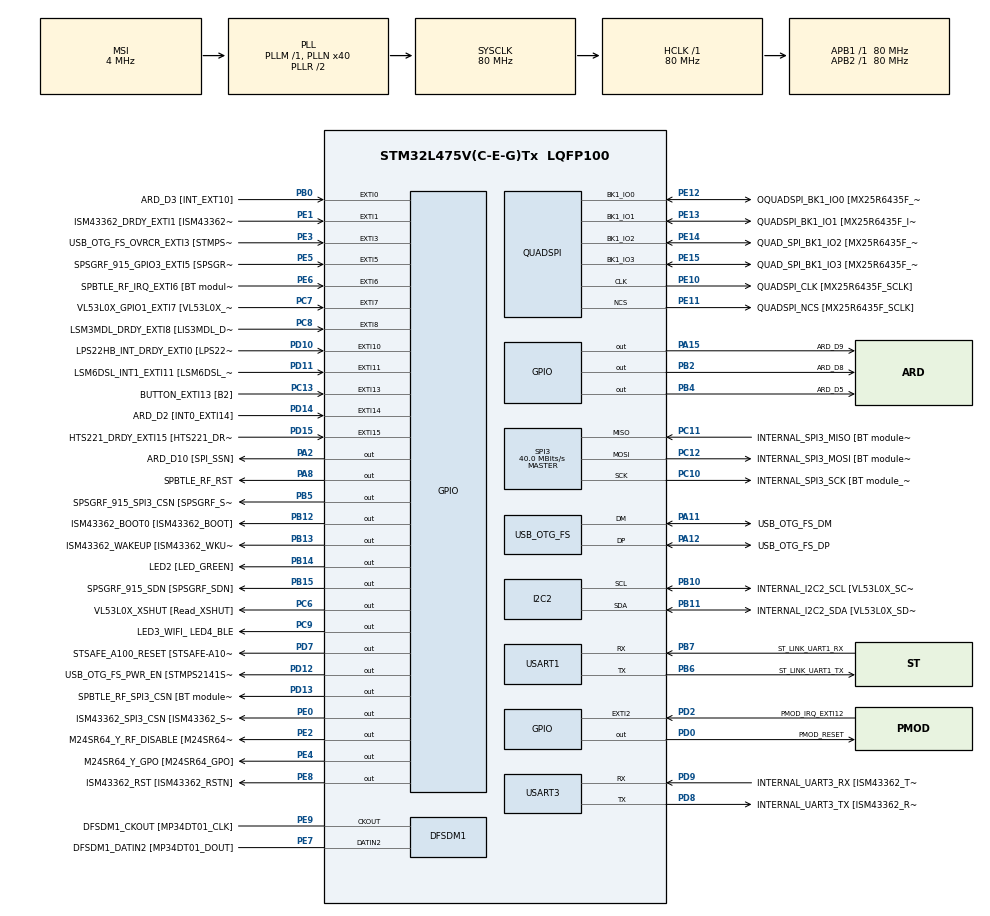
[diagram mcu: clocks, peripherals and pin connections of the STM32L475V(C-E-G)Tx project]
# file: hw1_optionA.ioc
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FREERTOS.Tasks01=defaultTask,24,128,StartDefaultTask,Default,NULL,Dynamic,NULL,NULL
FREERTOS.configTOTAL_HEAP_SIZE=8000
Mcu.Family=STM32L4
Mcu.Name=STM32L475V(C-E-G)Tx
Mcu.Package=LQFP100
NVIC.EXTI15_10_IRQn=true\:5\:0\:false\:false\:true\:true\:true\:true\:true
NVIC.EXTI9_5_IRQn=true\:5\:0\:false\:false\:true\:true\:true\:true\:true
NVIC.PriorityGroup=NVIC_PRIORITYGROUP_4
NVIC.TIM6_DAC_IRQn=true\:5\:0\:false\:false\:true\:true\:true\:true\:true
PA0.GPIO_Label=ARD_D1 [UART4_TX]
PA0.Signal=UART4_TX
PA1.GPIO_Label=ARD_D0 [UART4_RX]
PA1.Signal=UART4_RX
PA10.GPIO_Label=USB_OTG_FS_ID
PA10.Signal=USB_OTG_FS_ID
PA11.GPIO_Label=USB_OTG_FS_DM
PA11.Mode=Device_Only
PA11.Signal=USB_OTG_FS_DM
PA12.GPIO_Label=USB_OTG_FS_DP
PA12.Mode=Device_Only
PA12.Signal=USB_OTG_FS_DP
PA13\ (JTMS-SWDIO).GPIO_Label=SYS_JTMS_SWDIO
PA13\ (JTMS-SWDIO).Mode=Serial_Wire
PA13\ (JTMS-SWDIO).Signal=SYS_JTMS-SWDIO
PA14\ (JTCK-SWCLK).GPIO_Label=SYS_JTCK_SWCLK
PA14\ (JTCK-SWCLK).Mode=Serial_Wire
PA14\ (JTCK-SWCLK).Signal=SYS_JTCK-SWCLK
PA15\ (JTDI).GPIO_Label=ARD_D9
PA15\ (JTDI).Signal=GPIO_Output
PA2.GPIO_Label=ARD_D10 [SPI_SSN]
PA2.Signal=GPIO_Output
PA3.GPIO_Label=ARD_D4
PA3.Signal=S_TIM2_CH4
PA4.GPIO_Label=ARD_D7
PA4.Signal=ADCx_IN9
PA5.GPIO_Label=ARD_D13 [SPI1_SCK]
PA5.Signal=SPI1_SCK
PA6.GPIO_Label=ARD_D12 [SPI1_MISO]
PA6.Signal=SPI1_MISO
PA7.GPIO_Label=ARD_D11 [SPI1_MOSI]
PA7.Signal=SPI1_MOSI
PA8.GPIO_Label=SPBTLE_RF_RST
PA8.Signal=GPIO_Output
PA9.GPIO_Label=USB_OTG_FS_VBUS [STMPS2141STR_OUT]
PA9.Signal=USB_OTG_FS_VBUS
PB0.GPIO_Label=ARD_D3 [INT_EXT10]
PB0.Signal=GPXTI0
PB1.GPIO_Label=ARD_D6 [ADC1_IN6]
PB1.Signal=ADCx_IN16
PB10.GPIO_Label=INTERNAL_I2C2_SCL [VL53L0X_SCL]
PB10.GPIO_Pu=GPIO_PULLUP
PB10.Mode=I2C
PB10.Signal=I2C2_SCL
PB11.GPIO_Label=INTERNAL_I2C2_SDA [VL53L0X_SDA]
PB11.GPIO_Pu=GPIO_PULLUP
PB11.Mode=I2C
PB11.Signal=I2C2_SDA
PB12.GPIO_Label=ISM43362_BOOT0 [ISM43362_BOOT]
PB12.Signal=GPIO_Output
PB13.GPIO_Label=ISM43362_WAKEUP [ISM43362_WKUP]
PB13.Signal=GPIO_Output
PB14.GPIO_Label=LED2 [LED_GREEN]
PB14.Signal=GPIO_Output
PB15.GPIO_Label=SPSGRF_915_SDN [SPSGRF_SDN]
PB15.Signal=GPIO_Output
PB2.GPIO_Label=ARD_D8
PB2.Signal=GPIO_Output
PB3\ (JTDO-TRACESWO).GPIO_Label=SYS_JTD0_SWO
PB3\ (JTDO-TRACESWO).Signal=SYS_JTDO-SWO
PB4\ (NJTRST).GPIO_Label=ARD_D5
PB4\ (NJTRST).Signal=GPIO_Output
PB5.GPIO_Label=SPSGRF_915_SPI3_CSN [SPSGRF_SPI_CS]
PB5.PinState=GPIO_PIN_SET
PB5.Signal=GPIO_Output
PB6.GPIO_Label=ST_LINK_UART1_TX
PB6.Mode=Asynchronous
PB6.Signal=USART1_TX
PB7.GPIO_Label=ST_LINK_UART1_RX
PB7.Mode=Asynchronous
PB7.Signal=USART1_RX
PB8.GPIO_Label=ARD_D15 [I2C1_SCL]
PB8.Signal=I2C1_SCL
PB9.GPIO_Label=ARD_D14 [I2C1_SDA]
PB9.Signal=I2C1_SDA
PC0.GPIO_Label=ARD_A5 [ADC]
PC0.Signal=ADCx_IN1
PC1.GPIO_Label=ARD_A4 [ADC]
PC1.Signal=ADCx_IN2
PC10.GPIO_Label=INTERNAL_SPI3_SCK [BT module_SPI_SCLK] [ISM43362_SCK]
PC10.Mode=Full_Duplex_Master
PC10.Signal=SPI3_SCK
PC11.GPIO_Label=INTERNAL_SPI3_MISO [BT module_SPI_MISO] [ISM43362_MISO]
PC11.Mode=Full_Duplex_Master
PC11.Signal=SPI3_MISO
PC12.GPIO_Label=INTERNAL_SPI3_MOSI [BT module_SPI_MOSI] [ISM43362_MOSI]
PC12.Mode=Full_Duplex_Master
PC12.Signal=SPI3_MOSI
PC13.GPIO_Label=BUTTON_EXTI13 [B2]
PC13.GPIO_ModeDefaultEXTI=GPIO_MODE_IT_RISING_FALLING
PC13.Signal=GPXTI13
PC14-OSC32_IN\ (PC14).Mode=LSE-External-Oscillator
PC14-OSC32_IN\ (PC14).Signal=RCC_OSC32_IN
PC15-OSC32_OUT\ (PC15).Mode=LSE-External-Oscillator
PC15-OSC32_OUT\ (PC15).Signal=RCC_OSC32_OUT
PC2.GPIO_Label=ARD_A3 [ADC]
PC2.Signal=ADCx_IN3
PC3.GPIO_Label=ARD_A2 [ADC]
PC3.Signal=ADCx_IN4
PC4.GPIO_Label=ARD_A1 [ADC]
PC4.Signal=ADCx_IN13
PC5.GPIO_Label=ARD_A0 [ADC]
PC5.Signal=ADCx_IN14
PC6.GPIO_Label=VL53L0X_XSHUT [Read_XSHUT]
PC6.Signal=GPIO_Output
PC7.GPIO_Label=VL53L0X_GPIO1_EXTI7 [VL53L0X_GPIO1]
PC7.Signal=GPXTI7
PC8.GPIO_Label=LSM3MDL_DRDY_EXTI8 [LIS3MDL_DRDY]
PC8.Signal=GPXTI8
PC9.GPIO_Label=LED3_WIFI_ LED4_BLE
PC9.Signal=GPIO_Output
PD0.GPIO_Label=PMOD_RESET
PD0.Signal=GPIO_Output
PD1.GPIO_Label=PMOD_SPI2_SCK
PD1.Signal=SPI2_SCK
PD10.GPIO_Label=LPS22HB_INT_DRDY_EXTI0 [LPS22HB_INT_DRDY] 
PD10.Signal=GPXTI10
PD11.GPIO_Label=LSM6DSL_INT1_EXTI11 [LSM6DSL_INT1]
PD11.Signal=GPXTI11
PD12.GPIO_Label=USB_OTG_FS_PWR_EN [STMPS2141STR_EN]
PD12.Signal=GPIO_Output
PD13.GPIO_Label=SPBTLE_RF_SPI3_CSN [BT module_SPI_CS]
PD13.PinState=GPIO_PIN_SET
PD13.Signal=GPIO_Output
PD14.GPIO_Label=ARD_D2 [INT0_EXTI14]
PD14.Signal=GPXTI14
PD15.GPIO_Label=HTS221_DRDY_EXTI15 [HTS221_DRDY]
PD15.Signal=GPXTI15
PD2.GPIO_Label=PMOD_IRQ_EXTI12
PD2.Signal=GPXTI2
PD3.GPIO_Label=PMOD_UART2_CTS
PD3.Signal=USART2_CTS
PD4.GPIO_Label=PMOD_UART2_RTS
PD4.Signal=USART2_RTS
PD5.GPIO_Label=PMOD_UART2_TX
PD5.Signal=USART2_TX
PD6.GPIO_Label=PMOD_UART2_RX
PD6.Signal=USART2_RX
PD7.GPIO_Label=STSAFE_A100_RESET [STSAFE-A100_RESET]
PD7.Signal=GPIO_Output
PD8.GPIO_Label=INTERNAL_UART3_TX [ISM43362_RX]
PD8.Mode=Asynchronous
PD8.Signal=USART3_TX
PD9.GPIO_Label=INTERNAL_UART3_RX [ISM43362_TX]
PD9.Mode=Asynchronous
PD9.Signal=USART3_RX
PE0.GPIO_Label=ISM43362_SPI3_CSN [ISM43362_SSN]
PE0.PinState=GPIO_PIN_SET
PE0.Signal=GPIO_Output
PE1.GPIO_Label=ISM43362_DRDY_EXTI1 [ISM43362_DATARDY]
PE1.Signal=GPXTI1
PE10.GPIO_Label=QUADSPI_CLK [MX25R6435F_SCLK]
PE10.Mode=Single Bank
PE10.Signal=QUADSPI_CLK
PE11.GPIO_Label=QUADSPI_NCS [MX25R6435F_SCLK]
PE11.Mode=Single Bank
PE11.Signal=QUADSPI_NCS
PE12.GPIO_Label=OQUADSPI_BK1_IO0 [MX25R6435F_IO0]
PE12.Mode=Single Bank
PE12.Signal=QUADSPI_BK1_IO0
PE13.GPIO_Label=QUADSPI_BK1_IO1 [MX25R6435F_IO1]
PE13.Mode=Single Bank
PE13.Signal=QUADSPI_BK1_IO1
PE14.GPIO_Label=QUAD_SPI_BK1_IO2 [MX25R6435F_IO2]
PE14.Mode=Single Bank
PE14.Signal=QUADSPI_BK1_IO2
PE15.GPIO_Label=QUAD_SPI_BK1_IO3 [MX25R6435F_IO3]
PE15.Mode=Single Bank
PE15.Signal=QUADSPI_BK1_IO3
PE2.GPIO_Label=M24SR64_Y_RF_DISABLE [M24SR64_RFDIS]
PE2.Signal=GPIO_Output
PE3.GPIO_Label=USB_OTG_FS_OVRCR_EXTI3 [STMPS2141STR_FAULT]
PE3.Signal=GPXTI3
PE4.GPIO_Label=M24SR64_Y_GPO [M24SR64_GPO]
PE4.Signal=GPIO_Output
PE5.GPIO_Label=SPSGRF_915_GPIO3_EXTI5 [SPSGRF_GPIO_3]
PE5.Signal=GPXTI5
PE6.GPIO_Label=SPBTLE_RF_IRQ_EXTI6 [BT module_SPI_IRQ]
PE6.Signal=GPXTI6
PE7.GPIO_Label=DFSDM1_DATIN2 [MP34DT01_DOUT]
PE7.Signal=S_DATAIN2DFSDM1
PE8.GPIO_Label=ISM43362_RST [ISM43362_RSTN]
PE8.Signal=GPIO_Output
PE9.GPIO_Label=DFSDM1_CKOUT [MP34DT01_CLK]
PE9.Signal=S_CKOUTDFSDM1
ProjectManager.HeapSize=0x200
ProjectManager.StackSize=0x400
ProjectManager.TargetToolchain=STM32CubeIDE
QUADSPI.ClockPrescaler=2
QUADSPI.FifoThreshold=4
QUADSPI.FlashSize=23
QUADSPI.SampleShifting=QSPI_SAMPLE_SHIFTING_HALFCYCLE
RCC.ADCFreq_Value=48000000
RCC.AHBFreq_Value=80000000
RCC.APB1Freq_Value=80000000
RCC.APB1TimFreq_Value=80000000
RCC.APB2Freq_Value=80000000
RCC.APB2TimFreq_Value=80000000
RCC.CortexFreq_Value=80000000
RCC.HCLKFreq_Value=80000000
RCC.HSE_VALUE=8000000
RCC.HSI_VALUE=16000000
RCC.MSI_VALUE=4000000
RCC.PLLN=40
RCC.PLLSAI1N=24
RCC.SYSCLKFreq_VALUE=80000000
RCC.SYSCLKSource=RCC_SYSCLKSOURCE_PLLCLK
RCC.USBFreq_Value=48000000
RCC.VCOOutputFreq_Value=160000000
SH.ADCx_IN1.0=ADC1_IN1
SH.ADCx_IN13.0=ADC1_IN13
SH.ADCx_IN14.0=ADC1_IN14
SH.ADCx_IN16.0=ADC1_IN16
SH.ADCx_IN2.0=ADC1_IN2
SH.ADCx_IN3.0=ADC1_IN3
SH.ADCx_IN4.0=ADC1_IN4
SH.ADCx_IN9.0=ADC1_IN9
SH.S_CKOUTDFSDM1.0=DFSDM1_CKOUT,CKOUT
SH.S_CKOUTDFSDM1.1=DFSDM1_CKOUT,PDM_SPI_Input_from_ch12_and_Internal_Clock
SH.S_DATAIN2DFSDM1.0=DFSDM1_DATIN2,PDM_SPI_Input_from_ch12_and_Internal_Clock
SH.S_TIM2_CH4.0=TIM2_CH4
SPI3.CalculateBaudRate=40.0 MBits/s
SPI3.Direction=SPI_DIRECTION_2LINES
SPI3.Mode=SPI_MODE_MASTER
SPI3.VirtualType=VM_MASTER
TIM6.Period=49999
TIM6.Prescaler=15999
USART1.VirtualMode-Asynchronous=VM_ASYNC
USART3.VirtualMode-Asynchronous=VM_ASYNC
USB_OTG_FS.VirtualMode=Device_Only
VP_FREERTOS_VS_CMSIS_V2.Mode=CMSIS_V2
VP_TIM6_VS_ClockSourceINT.Mode=Enable_Timer
board=B-L475E-IOT01A2

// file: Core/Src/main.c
/* USER CODE BEGIN Header */
/**
  ******************************************************************************
  * @file           : main.c
  * @brief          : Main program body
  ******************************************************************************
  * @attention
  *
  * Copyright (c) 2025 STMicroelectronics.
  * All rights reserved.
  *
  * This software is licensed under terms that can be found in the LICENSE file
  * in the root directory of this software component.
  * If no LICENSE file comes with this software, it is provided AS-IS.
  *
  ******************************************************************************
  */
/* USER CODE END Header */
#include "main.h"
#include "cmsis_os.h"

/* USER CODE BEGIN Includes */
#include "cmsis_os2.h"
#include <stdbool.h>
/* USER CODE END Includes */

/* USER CODE BEGIN PTD */
typedef enum {
  BTN_MSG_SHORT = 0,
  BTN_MSG_LONG  = 1
} BtnMsg_t;
/* USER CODE END PTD */

DFSDM_Channel_HandleTypeDef hdfsdm1_channel1;

I2C_HandleTypeDef hi2c2;

QSPI_HandleTypeDef hqspi;

SPI_HandleTypeDef hspi3;

TIM_HandleTypeDef htim6;

UART_HandleTypeDef huart1;
UART_HandleTypeDef huart3;

PCD_HandleTypeDef hpcd_USB_OTG_FS;

/* Definitions for defaultTask */
osThreadId_t defaultTaskHandle;
const osThreadAttr_t defaultTask_attributes = {
  .name = "defaultTask",
  .stack_size = 128 * 4,
  .priority = (osPriority_t) osPriorityNormal,
};
/* USER CODE BEGIN PV */
// RTOS handles
osThreadId_t task1Handle, task2Handle;
osMutexId_t  gBlinkMutex;
osSemaphoreId_t semTimer;
osMessageQueueId_t qBtn;

static volatile uint32_t btnPressTick = 0;
static volatile bool     btnPressed   = false;
static volatile uint32_t lastIrqTick  = 0;
/* USER CODE END PV */

void SystemClock_Config(void);
static void MX_GPIO_Init(void);
static void MX_DFSDM1_Init(void);
static void MX_I2C2_Init(void);
static void MX_QUADSPI_Init(void);
static void MX_SPI3_Init(void);
static void MX_USART1_UART_Init(void);
static void MX_USART3_UART_Init(void);
static void MX_USB_OTG_FS_PCD_Init(void);
static void MX_TIM6_Init(void);
void StartDefaultTask(void *argument);

/* USER CODE BEGIN PFP */
static void Task1(void *argument);
static void Task2(void *argument);
static void blink_blocking(uint32_t duration_ms, float hz);
/* USER CODE END PFP */

/* USER CODE BEGIN 0 */
static inline uint32_t osMillis(void)
{
  uint32_t tick = osKernelGetTickCount();
  uint32_t hz   = osKernelGetTickFreq();
  return (tick * 1000U) / hz;
}

static void blink_blocking(uint32_t duration_ms, float hz)
{
  osMutexAcquire(gBlinkMutex, osWaitForever);

  uint32_t period_ms = (uint32_t)(1000.0f / hz);
  if (period_ms < 2) period_ms = 2;
  uint32_t elapsed = 0;

  while (elapsed < duration_ms) {
    HAL_GPIO_TogglePin(LED2_GPIO_Port, LED2_Pin);
    osDelay(period_ms / 2);
    elapsed += period_ms / 2;

    HAL_GPIO_TogglePin(LED2_GPIO_Port, LED2_Pin);
    osDelay(period_ms / 2);
    elapsed += period_ms / 2;
  }

  HAL_GPIO_WritePin(LED2_GPIO_Port, LED2_Pin, GPIO_PIN_RESET);

  osMutexRelease(gBlinkMutex);
}

static void Task1(void *argument)
{
  (void)argument;
  for (;;) {
    BtnMsg_t msg;
    if (osMessageQueueGet(qBtn, &msg, NULL, osWaitForever) == osOK) {
      if (msg == BTN_MSG_LONG) {

        blink_blocking(5000, 10.0f);
      } else {

        blink_blocking(5000, 1.0f);
      }
    }
  }
}

static void Task2(void *argument)
{
  (void)argument;
  for (;;) {
    if (osSemaphoreAcquire(semTimer, osWaitForever) == osOK) {
      blink_blocking(2000, 10.0f);
    }
  }
}

void HAL_GPIO_EXTI_Callback(uint16_t GPIO_Pin)
{
  if (GPIO_Pin == BUTTON_EXTI13_Pin) {

    uint32_t nowMs = osMillis();
    if ((nowMs - lastIrqTick) < 40U) {
      return;
    }
    lastIrqTick = nowMs;

    GPIO_PinState state = HAL_GPIO_ReadPin(BUTTON_EXTI13_GPIO_Port, BUTTON_EXTI13_Pin);

    if (state == GPIO_PIN_RESET) {

      btnPressed   = true;
      btnPressTick = osKernelGetTickCount();
    } else {

      if (btnPressed) {
        btnPressed = false;
        uint32_t pressTicks = osKernelGetTickCount() - btnPressTick;
        uint32_t heldMs = (pressTicks * 1000U) / osKernelGetTickFreq();

        BtnMsg_t msg = (heldMs >= 1000U) ? BTN_MSG_LONG : BTN_MSG_SHORT;

        (void)osMessageQueuePut(qBtn, &msg, 0, 0);
      }
    }
  }
}

void HAL_TIM_PeriodElapsedCallback(TIM_HandleTypeDef *htim)
{
  if (htim->Instance == TIM6) {
    osSemaphoreRelease(semTimer);
  }
}
/* USER CODE END 0 */

int main(void)
{

  /* MCU Configuration--------------------------------------------------------*/

  /* Reset of all peripherals, Initializes the Flash interface and the Systick. */
  HAL_Init();

  /* Configure the system clock */
  SystemClock_Config();

  /* Initialize all configured peripherals */
  MX_GPIO_Init();
  MX_DFSDM1_Init();
  MX_I2C2_Init();
  MX_QUADSPI_Init();
  MX_SPI3_Init();
  MX_USART1_UART_Init();
  MX_USART3_UART_Init();
  MX_USB_OTG_FS_PCD_Init();
  MX_TIM6_Init();
  /* USER CODE BEGIN 2 */
  HAL_TIM_Base_Start_IT(&htim6);
  /* USER CODE END 2 */

  /* Init scheduler */
  osKernelInitialize();

  /* USER CODE BEGIN RTOS_MUTEX */
  /* add mutexes, ... */
  const osMutexAttr_t mtxAttr = { .name = "blinkMutex" };
    gBlinkMutex = osMutexNew(&mtxAttr);

  /* USER CODE END RTOS_MUTEX */

  /* USER CODE BEGIN RTOS_SEMAPHORES */
  /* add semaphores, ... */
    const osSemaphoreAttr_t semTmrAttr = { .name = "semTimer" };
     semTimer = osSemaphoreNew(1, 0, &semTmrAttr);
  /* USER CODE END RTOS_SEMAPHORES */

  /* USER CODE BEGIN RTOS_QUEUES */
  /* add queues, ... */
     const osMessageQueueAttr_t qAttr = { .name = "btnQueue" };
       qBtn = osMessageQueueNew(4, sizeof(BtnMsg_t), &qAttr);

  /* USER CODE END RTOS_QUEUES */

  /* Create the thread(s) */
  /* creation of defaultTask */
  defaultTaskHandle = osThreadNew(StartDefaultTask, NULL, &defaultTask_attributes);

  /* USER CODE BEGIN RTOS_THREADS */
  /* add threads, ... */
  const osThreadAttr_t t1Attr = {
     .name = "Task_1",
     .priority = osPriorityNormal,
     .stack_size = 512
   };
   task1Handle = osThreadNew(Task1, NULL, &t1Attr);

   const osThreadAttr_t t2Attr = {
     .name = "Task_2",
     .priority = osPriorityBelowNormal,
     .stack_size = 512
   };
   task2Handle = osThreadNew(Task2, NULL, &t2Attr);
  /* USER CODE END RTOS_THREADS */

  /* Start scheduler */
  osKernelStart();

  /* We should never get here as control is now taken by the scheduler */

  /* Infinite loop */
  while (1)
  {

  }
}

void SystemClock_Config(void)
{
  RCC_OscInitTypeDef RCC_OscInitStruct = {0};
  RCC_ClkInitTypeDef RCC_ClkInitStruct = {0};

  /** Configure the main internal regulator output voltage
  */
  if (HAL_PWREx_ControlVoltageScaling(PWR_REGULATOR_VOLTAGE_SCALE1) != HAL_OK)
  {
    Error_Handler();
  }

  /** Configure LSE Drive Capability
  */
  HAL_PWR_EnableBkUpAccess();
  __HAL_RCC_LSEDRIVE_CONFIG(RCC_LSEDRIVE_LOW);

  /** Initializes the RCC Oscillators according to the specified parameters
  * in the RCC_OscInitTypeDef structure.
  */
  RCC_OscInitStruct.OscillatorType = RCC_OSCILLATORTYPE_LSE|RCC_OSCILLATORTYPE_MSI;
  RCC_OscInitStruct.LSEState = RCC_LSE_ON;
  RCC_OscInitStruct.MSIState = RCC_MSI_ON;
  RCC_OscInitStruct.MSICalibrationValue = 0;
  RCC_OscInitStruct.MSIClockRange = RCC_MSIRANGE_6;
  RCC_OscInitStruct.PLL.PLLState = RCC_PLL_ON;
  RCC_OscInitStruct.PLL.PLLSource = RCC_PLLSOURCE_MSI;
  RCC_OscInitStruct.PLL.PLLM = 1;
  RCC_OscInitStruct.PLL.PLLN = 40;
  RCC_OscInitStruct.PLL.PLLP = RCC_PLLP_DIV7;
  RCC_OscInitStruct.PLL.PLLQ = RCC_PLLQ_DIV2;
  RCC_OscInitStruct.PLL.PLLR = RCC_PLLR_DIV2;
  if (HAL_RCC_OscConfig(&RCC_OscInitStruct) != HAL_OK)
  {
    Error_Handler();
  }

  /** Initializes the CPU, AHB and APB buses clocks
  */
  RCC_ClkInitStruct.ClockType = RCC_CLOCKTYPE_HCLK|RCC_CLOCKTYPE_SYSCLK
                              |RCC_CLOCKTYPE_PCLK1|RCC_CLOCKTYPE_PCLK2;
  RCC_ClkInitStruct.SYSCLKSource = RCC_SYSCLKSOURCE_PLLCLK;
  RCC_ClkInitStruct.AHBCLKDivider = RCC_SYSCLK_DIV1;
  RCC_ClkInitStruct.APB1CLKDivider = RCC_HCLK_DIV1;
  RCC_ClkInitStruct.APB2CLKDivider = RCC_HCLK_DIV1;

  if (HAL_RCC_ClockConfig(&RCC_ClkInitStruct, FLASH_LATENCY_4) != HAL_OK)
  {
    Error_Handler();
  }

  /** Enable MSI Auto calibration
  */
  HAL_RCCEx_EnableMSIPLLMode();
}

static void MX_DFSDM1_Init(void)
{

  hdfsdm1_channel1.Instance = DFSDM1_Channel1;
  hdfsdm1_channel1.Init.OutputClock.Activation = ENABLE;
  hdfsdm1_channel1.Init.OutputClock.Selection = DFSDM_CHANNEL_OUTPUT_CLOCK_SYSTEM;
  hdfsdm1_channel1.Init.OutputClock.Divider = 2;
  hdfsdm1_channel1.Init.Input.Multiplexer = DFSDM_CHANNEL_EXTERNAL_INPUTS;
  hdfsdm1_channel1.Init.Input.DataPacking = DFSDM_CHANNEL_STANDARD_MODE;
  hdfsdm1_channel1.Init.Input.Pins = DFSDM_CHANNEL_FOLLOWING_CHANNEL_PINS;
  hdfsdm1_channel1.Init.SerialInterface.Type = DFSDM_CHANNEL_SPI_RISING;
  hdfsdm1_channel1.Init.SerialInterface.SpiClock = DFSDM_CHANNEL_SPI_CLOCK_INTERNAL;
  hdfsdm1_channel1.Init.Awd.FilterOrder = DFSDM_CHANNEL_FASTSINC_ORDER;
  hdfsdm1_channel1.Init.Awd.Oversampling = 1;
  hdfsdm1_channel1.Init.Offset = 0;
  hdfsdm1_channel1.Init.RightBitShift = 0x00;
  if (HAL_DFSDM_ChannelInit(&hdfsdm1_channel1) != HAL_OK)
  {
    Error_Handler();
  }

}

static void MX_I2C2_Init(void)
{

  hi2c2.Instance = I2C2;
  hi2c2.Init.Timing = 0x00000E14;
  hi2c2.Init.OwnAddress1 = 0;
  hi2c2.Init.AddressingMode = I2C_ADDRESSINGMODE_7BIT;
  hi2c2.Init.DualAddressMode = I2C_DUALADDRESS_DISABLE;
  hi2c2.Init.OwnAddress2 = 0;
  hi2c2.Init.OwnAddress2Masks = I2C_OA2_NOMASK;
  hi2c2.Init.GeneralCallMode = I2C_GENERALCALL_DISABLE;
  hi2c2.Init.NoStretchMode = I2C_NOSTRETCH_DISABLE;
  if (HAL_I2C_Init(&hi2c2) != HAL_OK)
  {
    Error_Handler();
  }

  /** Configure Analogue filter
  */
  if (HAL_I2CEx_ConfigAnalogFilter(&hi2c2, I2C_ANALOGFILTER_ENABLE) != HAL_OK)
  {
    Error_Handler();
  }

  /** Configure Digital filter
  */
  if (HAL_I2CEx_ConfigDigitalFilter(&hi2c2, 0) != HAL_OK)
  {
    Error_Handler();
  }

}

static void MX_QUADSPI_Init(void)
{

  /* QUADSPI parameter configuration*/
  hqspi.Instance = QUADSPI;
  hqspi.Init.ClockPrescaler = 2;
  hqspi.Init.FifoThreshold = 4;
  hqspi.Init.SampleShifting = QSPI_SAMPLE_SHIFTING_HALFCYCLE;
  hqspi.Init.FlashSize = 23;
  hqspi.Init.ChipSelectHighTime = QSPI_CS_HIGH_TIME_1_CYCLE;
  hqspi.Init.ClockMode = QSPI_CLOCK_MODE_0;
  if (HAL_QSPI_Init(&hqspi) != HAL_OK)
  {
    Error_Handler();
  }

}

static void MX_SPI3_Init(void)
{

  /* SPI3 parameter configuration*/
  hspi3.Instance = SPI3;
  hspi3.Init.Mode = SPI_MODE_MASTER;
  hspi3.Init.Direction = SPI_DIRECTION_2LINES;
  hspi3.Init.DataSize = SPI_DATASIZE_4BIT;
  hspi3.Init.CLKPolarity = SPI_POLARITY_LOW;
  hspi3.Init.CLKPhase = SPI_PHASE_1EDGE;
  hspi3.Init.NSS = SPI_NSS_SOFT;
  hspi3.Init.BaudRatePrescaler = SPI_BAUDRATEPRESCALER_2;
  hspi3.Init.FirstBit = SPI_FIRSTBIT_MSB;
  hspi3.Init.TIMode = SPI_TIMODE_DISABLE;
  hspi3.Init.CRCCalculation = SPI_CRCCALCULATION_DISABLE;
  hspi3.Init.CRCPolynomial = 7;
  hspi3.Init.CRCLength = SPI_CRC_LENGTH_DATASIZE;
  hspi3.Init.NSSPMode = SPI_NSS_PULSE_ENABLE;
  if (HAL_SPI_Init(&hspi3) != HAL_OK)
  {
    Error_Handler();
  }

}

static void MX_TIM6_Init(void)
{

  TIM_MasterConfigTypeDef sMasterConfig = {0};

  htim6.Instance = TIM6;
  htim6.Init.Prescaler = 15999;
  htim6.Init.CounterMode = TIM_COUNTERMODE_UP;
  htim6.Init.Period = 49999;
  htim6.Init.AutoReloadPreload = TIM_AUTORELOAD_PRELOAD_DISABLE;
  if (HAL_TIM_Base_Init(&htim6) != HAL_OK)
  {
    Error_Handler();
  }
  sMasterConfig.MasterOutputTrigger = TIM_TRGO_RESET;
  sMasterConfig.MasterSlaveMode = TIM_MASTERSLAVEMODE_DISABLE;
  if (HAL_TIMEx_MasterConfigSynchronization(&htim6, &sMasterConfig) != HAL_OK)
  {
    Error_Handler();
  }

}

static void MX_USART1_UART_Init(void)
{

  huart1.Instance = USART1;
  huart1.Init.BaudRate = 115200;
  huart1.Init.WordLength = UART_WORDLENGTH_8B;
  huart1.Init.StopBits = UART_STOPBITS_1;
  huart1.Init.Parity = UART_PARITY_NONE;
  huart1.Init.Mode = UART_MODE_TX_RX;
  huart1.Init.HwFlowCtl = UART_HWCONTROL_NONE;
  huart1.Init.OverSampling = UART_OVERSAMPLING_16;
  huart1.Init.OneBitSampling = UART_ONE_BIT_SAMPLE_DISABLE;
  huart1.AdvancedInit.AdvFeatureInit = UART_ADVFEATURE_NO_INIT;
  if (HAL_UART_Init(&huart1) != HAL_OK)
  {
    Error_Handler();
  }

}

static void MX_USART3_UART_Init(void)
{

  huart3.Instance = USART3;
  huart3.Init.BaudRate = 115200;
  huart3.Init.WordLength = UART_WORDLENGTH_8B;
  huart3.Init.StopBits = UART_STOPBITS_1;
  huart3.Init.Parity = UART_PARITY_NONE;
  huart3.Init.Mode = UART_MODE_TX_RX;
  huart3.Init.HwFlowCtl = UART_HWCONTROL_NONE;
  huart3.Init.OverSampling = UART_OVERSAMPLING_16;
  huart3.Init.OneBitSampling = UART_ONE_BIT_SAMPLE_DISABLE;
  huart3.AdvancedInit.AdvFeatureInit = UART_ADVFEATURE_NO_INIT;
  if (HAL_UART_Init(&huart3) != HAL_OK)
  {
    Error_Handler();
  }

}

static void MX_USB_OTG_FS_PCD_Init(void)
{

  hpcd_USB_OTG_FS.Instance = USB_OTG_FS;
  hpcd_USB_OTG_FS.Init.dev_endpoints = 6;
  hpcd_USB_OTG_FS.Init.speed = PCD_SPEED_FULL;
  hpcd_USB_OTG_FS.Init.phy_itface = PCD_PHY_EMBEDDED;
  hpcd_USB_OTG_FS.Init.Sof_enable = DISABLE;
  hpcd_USB_OTG_FS.Init.low_power_enable = DISABLE;
  hpcd_USB_OTG_FS.Init.lpm_enable = DISABLE;
  hpcd_USB_OTG_FS.Init.battery_charging_enable = DISABLE;
  hpcd_USB_OTG_FS.Init.use_dedicated_ep1 = DISABLE;
  hpcd_USB_OTG_FS.Init.vbus_sensing_enable = DISABLE;
  if (HAL_PCD_Init(&hpcd_USB_OTG_FS) != HAL_OK)
  {
    Error_Handler();
  }

}

static void MX_GPIO_Init(void)
{
  GPIO_InitTypeDef GPIO_InitStruct = {0};

  /* GPIO Ports Clock Enable */
  __HAL_RCC_GPIOE_CLK_ENABLE();
  __HAL_RCC_GPIOC_CLK_ENABLE();
  __HAL_RCC_GPIOA_CLK_ENABLE();
  __HAL_RCC_GPIOB_CLK_ENABLE();
  __HAL_RCC_GPIOD_CLK_ENABLE();

  /*Configure GPIO pin Output Level */
  HAL_GPIO_WritePin(GPIOE, M24SR64_Y_RF_DISABLE_Pin|M24SR64_Y_GPO_Pin|ISM43362_RST_Pin, GPIO_PIN_RESET);

  /*Configure GPIO pin Output Level */
  HAL_GPIO_WritePin(GPIOA, ARD_D10_Pin|SPBTLE_RF_RST_Pin|ARD_D9_Pin, GPIO_PIN_RESET);

  /*Configure GPIO pin Output Level */
  HAL_GPIO_WritePin(GPIOB, ARD_D8_Pin|ISM43362_BOOT0_Pin|ISM43362_WAKEUP_Pin|LED2_Pin
                          |SPSGRF_915_SDN_Pin|ARD_D5_Pin, GPIO_PIN_RESET);

  /*Configure GPIO pin Output Level */
  HAL_GPIO_WritePin(GPIOD, USB_OTG_FS_PWR_EN_Pin|PMOD_RESET_Pin|STSAFE_A100_RESET_Pin, GPIO_PIN_RESET);

  /*Configure GPIO pin Output Level */
  HAL_GPIO_WritePin(SPBTLE_RF_SPI3_CSN_GPIO_Port, SPBTLE_RF_SPI3_CSN_Pin, GPIO_PIN_SET);

  /*Configure GPIO pin Output Level */
  HAL_GPIO_WritePin(GPIOC, VL53L0X_XSHUT_Pin|LED3_WIFI__LED4_BLE_Pin, GPIO_PIN_RESET);

  /*Configure GPIO pin Output Level */
  HAL_GPIO_WritePin(SPSGRF_915_SPI3_CSN_GPIO_Port, SPSGRF_915_SPI3_CSN_Pin, GPIO_PIN_SET);

  /*Configure GPIO pin Output Level */
  HAL_GPIO_WritePin(ISM43362_SPI3_CSN_GPIO_Port, ISM43362_SPI3_CSN_Pin, GPIO_PIN_SET);

  /*Configure GPIO pins : M24SR64_Y_RF_DISABLE_Pin M24SR64_Y_GPO_Pin ISM43362_RST_Pin ISM43362_SPI3_CSN_Pin */
  GPIO_InitStruct.Pin = M24SR64_Y_RF_DISABLE_Pin|M24SR64_Y_GPO_Pin|ISM43362_RST_Pin|ISM43362_SPI3_CSN_Pin;
  GPIO_InitStruct.Mode = GPIO_MODE_OUTPUT_PP;
  GPIO_InitStruct.Pull = GPIO_NOPULL;
  GPIO_InitStruct.Speed = GPIO_SPEED_FREQ_LOW;
  HAL_GPIO_Init(GPIOE, &GPIO_InitStruct);

  /*Configure GPIO pins : USB_OTG_FS_OVRCR_EXTI3_Pin SPSGRF_915_GPIO3_EXTI5_Pin SPBTLE_RF_IRQ_EXTI6_Pin ISM43362_DRDY_EXTI1_Pin */
  GPIO_InitStruct.Pin = USB_OTG_FS_OVRCR_EXTI3_Pin|SPSGRF_915_GPIO3_EXTI5_Pin|SPBTLE_RF_IRQ_EXTI6_Pin|ISM43362_DRDY_EXTI1_Pin;
  GPIO_InitStruct.Mode = GPIO_MODE_IT_RISING;
  GPIO_InitStruct.Pull = GPIO_NOPULL;
  HAL_GPIO_Init(GPIOE, &GPIO_InitStruct);

  /*Configure GPIO pin : BUTTON_EXTI13_Pin */
  GPIO_InitStruct.Pin = BUTTON_EXTI13_Pin;
  GPIO_InitStruct.Mode = GPIO_MODE_IT_RISING_FALLING;
  GPIO_InitStruct.Pull = GPIO_NOPULL;
  HAL_GPIO_Init(BUTTON_EXTI13_GPIO_Port, &GPIO_InitStruct);

  /*Configure GPIO pins : ARD_A5_Pin ARD_A4_Pin ARD_A3_Pin ARD_A2_Pin
                           ARD_A1_Pin ARD_A0_Pin */
  GPIO_InitStruct.Pin = ARD_A5_Pin|ARD_A4_Pin|ARD_A3_Pin|ARD_A2_Pin
                          |ARD_A1_Pin|ARD_A0_Pin;
  GPIO_InitStruct.Mode = GPIO_MODE_ANALOG_ADC_CONTROL;
  GPIO_InitStruct.Pull = GPIO_NOPULL;
  HAL_GPIO_Init(GPIOC, &GPIO_InitStruct);

  /*Configure GPIO pins : ARD_D1_Pin ARD_D0_Pin */
  GPIO_InitStruct.Pin = ARD_D1_Pin|ARD_D0_Pin;
  GPIO_InitStruct.Mode = GPIO_MODE_AF_PP;
  GPIO_InitStruct.Pull = GPIO_NOPULL;
  GPIO_InitStruct.Speed = GPIO_SPEED_FREQ_VERY_HIGH;
  GPIO_InitStruct.Alternate = GPIO_AF8_UART4;
  HAL_GPIO_Init(GPIOA, &GPIO_InitStruct);

  /*Configure GPIO pins : ARD_D10_Pin SPBTLE_RF_RST_Pin ARD_D9_Pin */
  GPIO_InitStruct.Pin = ARD_D10_Pin|SPBTLE_RF_RST_Pin|ARD_D9_Pin;
  GPIO_InitStruct.Mode = GPIO_MODE_OUTPUT_PP;
  GPIO_InitStruct.Pull = GPIO_NOPULL;
  GPIO_InitStruct.Speed = GPIO_SPEED_FREQ_LOW;
  HAL_GPIO_Init(GPIOA, &GPIO_InitStruct);

  /*Configure GPIO pin : ARD_D4_Pin */
  GPIO_InitStruct.Pin = ARD_D4_Pin;
  GPIO_InitStruct.Mode = GPIO_MODE_AF_PP;
  GPIO_InitStruct.Pull = GPIO_NOPULL;
  GPIO_InitStruct.Speed = GPIO_SPEED_FREQ_LOW;
  GPIO_InitStruct.Alternate = GPIO_AF1_TIM2;
  HAL_GPIO_Init(ARD_D4_GPIO_Port, &GPIO_InitStruct);

  /*Configure GPIO pin : ARD_D7_Pin */
  GPIO_InitStruct.Pin = ARD_D7_Pin;
  GPIO_InitStruct.Mode = GPIO_MODE_ANALOG_ADC_CONTROL;
  GPIO_InitStruct.Pull = GPIO_NOPULL;
  HAL_GPIO_Init(ARD_D7_GPIO_Port, &GPIO_InitStruct);

  /*Configure GPIO pins : ARD_D13_Pin ARD_D12_Pin ARD_D11_Pin */
  GPIO_InitStruct.Pin = ARD_D13_Pin|ARD_D12_Pin|ARD_D11_Pin;
  GPIO_InitStruct.Mode = GPIO_MODE_AF_PP;
  GPIO_InitStruct.Pull = GPIO_NOPULL;
  GPIO_InitStruct.Speed = GPIO_SPEED_FREQ_VERY_HIGH;
  GPIO_InitStruct.Alternate = GPIO_AF5_SPI1;
  HAL_GPIO_Init(GPIOA, &GPIO_InitStruct);

  /*Configure GPIO pin : ARD_D3_Pin */
  GPIO_InitStruct.Pin = ARD_D3_Pin;
  GPIO_InitStruct.Mode = GPIO_MODE_IT_RISING;
  GPIO_InitStruct.Pull = GPIO_NOPULL;
  HAL_GPIO_Init(ARD_D3_GPIO_Port, &GPIO_InitStruct);

  /*Configure GPIO pin : ARD_D6_Pin */
  GPIO_InitStruct.Pin = ARD_D6_Pin;
  GPIO_InitStruct.Mode = GPIO_MODE_ANALOG_ADC_CONTROL;
  GPIO_InitStruct.Pull = GPIO_NOPULL;
  HAL_GPIO_Init(ARD_D6_GPIO_Port, &GPIO_InitStruct);

  /*Configure GPIO pins : ARD_D8_Pin ISM43362_BOOT0_Pin ISM43362_WAKEUP_Pin LED2_Pin
                           SPSGRF_915_SDN_Pin ARD_D5_Pin SPSGRF_915_SPI3_CSN_Pin */
  GPIO_InitStruct.Pin = ARD_D8_Pin|ISM43362_BOOT0_Pin|ISM43362_WAKEUP_Pin|LED2_Pin
                          |SPSGRF_915_SDN_Pin|ARD_D5_Pin|SPSGRF_915_SPI3_CSN_Pin;
  GPIO_InitStruct.Mode = GPIO_MODE_OUTPUT_PP;
  GPIO_InitStruct.Pull = GPIO_NOPULL;
  GPIO_InitStruct.Speed = GPIO_SPEED_FREQ_LOW;
  HAL_GPIO_Init(GPIOB, &GPIO_InitStruct);

  /*Configure GPIO pins : LPS22HB_INT_DRDY_EXTI0_Pin LSM6DSL_INT1_EXTI11_Pin ARD_D2_Pin HTS221_DRDY_EXTI15_Pin
                           PMOD_IRQ_EXTI12_Pin */
  GPIO_InitStruct.Pin = LPS22HB_INT_DRDY_EXTI0_Pin|LSM6DSL_INT1_EXTI11_Pin|ARD_D2_Pin|HTS221_DRDY_EXTI15_Pin
                          |PMOD_IRQ_EXTI12_Pin;
  GPIO_InitStruct.Mode = GPIO_MODE_IT_RISING;
  GPIO_InitStruct.Pull = GPIO_NOPULL;
  HAL_GPIO_Init(GPIOD, &GPIO_InitStruct);

  /*Configure GPIO pins : USB_OTG_FS_PWR_EN_Pin SPBTLE_RF_SPI3_CSN_Pin PMOD_RESET_Pin STSAFE_A100_RESET_Pin */
  GPIO_InitStruct.Pin = USB_OTG_FS_PWR_EN_Pin|SPBTLE_RF_SPI3_CSN_Pin|PMOD_RESET_Pin|STSAFE_A100_RESET_Pin;
  GPIO_InitStruct.Mode = GPIO_MODE_OUTPUT_PP;
  GPIO_InitStruct.Pull = GPIO_NOPULL;
  GPIO_InitStruct.Speed = GPIO_SPEED_FREQ_LOW;
  HAL_GPIO_Init(GPIOD, &GPIO_InitStruct);

  /*Configure GPIO pins : VL53L0X_XSHUT_Pin LED3_WIFI__LED4_BLE_Pin */
  GPIO_InitStruct.Pin = VL53L0X_XSHUT_Pin|LED3_WIFI__LED4_BLE_Pin;
  GPIO_InitStruct.Mode = GPIO_MODE_OUTPUT_PP;
  GPIO_InitStruct.Pull = GPIO_NOPULL;
  GPIO_InitStruct.Speed = GPIO_SPEED_FREQ_LOW;
  HAL_GPIO_Init(GPIOC, &GPIO_InitStruct);

  /*Configure GPIO pins : VL53L0X_GPIO1_EXTI7_Pin LSM3MDL_DRDY_EXTI8_Pin */
  GPIO_InitStruct.Pin = VL53L0X_GPIO1_EXTI7_Pin|LSM3MDL_DRDY_EXTI8_Pin;
  GPIO_InitStruct.Mode = GPIO_MODE_IT_RISING;
  GPIO_InitStruct.Pull = GPIO_NOPULL;
  HAL_GPIO_Init(GPIOC, &GPIO_InitStruct);

  /*Configure GPIO pin : PMOD_SPI2_SCK_Pin */
  GPIO_InitStruct.Pin = PMOD_SPI2_SCK_Pin;
  GPIO_InitStruct.Mode = GPIO_MODE_AF_PP;
  GPIO_InitStruct.Pull = GPIO_NOPULL;
  GPIO_InitStruct.Speed = GPIO_SPEED_FREQ_VERY_HIGH;
  GPIO_InitStruct.Alternate = GPIO_AF5_SPI2;
  HAL_GPIO_Init(PMOD_SPI2_SCK_GPIO_Port, &GPIO_InitStruct);

  /*Configure GPIO pins : PMOD_UART2_CTS_Pin PMOD_UART2_RTS_Pin PMOD_UART2_TX_Pin PMOD_UART2_RX_Pin */
  GPIO_InitStruct.Pin = PMOD_UART2_CTS_Pin|PMOD_UART2_RTS_Pin|PMOD_UART2_TX_Pin|PMOD_UART2_RX_Pin;
  GPIO_InitStruct.Mode = GPIO_MODE_AF_PP;
  GPIO_InitStruct.Pull = GPIO_NOPULL;
  GPIO_InitStruct.Speed = GPIO_SPEED_FREQ_VERY_HIGH;
  GPIO_InitStruct.Alternate = GPIO_AF7_USART2;
  HAL_GPIO_Init(GPIOD, &GPIO_InitStruct);

  /*Configure GPIO pins : ARD_D15_Pin ARD_D14_Pin */
  GPIO_InitStruct.Pin = ARD_D15_Pin|ARD_D14_Pin;
  GPIO_InitStruct.Mode = GPIO_MODE_AF_OD;
  GPIO_InitStruct.Pull = GPIO_NOPULL;
  GPIO_InitStruct.Speed = GPIO_SPEED_FREQ_VERY_HIGH;
  GPIO_InitStruct.Alternate = GPIO_AF4_I2C1;
  HAL_GPIO_Init(GPIOB, &GPIO_InitStruct);

  /* EXTI interrupt init*/
  HAL_NVIC_SetPriority(EXTI9_5_IRQn, 5, 0);
  HAL_NVIC_EnableIRQ(EXTI9_5_IRQn);

  HAL_NVIC_SetPriority(EXTI15_10_IRQn, 5, 0);
  HAL_NVIC_EnableIRQ(EXTI15_10_IRQn);

}

void StartDefaultTask(void *argument)
{
  for(;;)
  {
    osDelay(1);
  }
}

void Error_Handler(void)
{
  __disable_irq();
  while (1)
  {
  }
}
